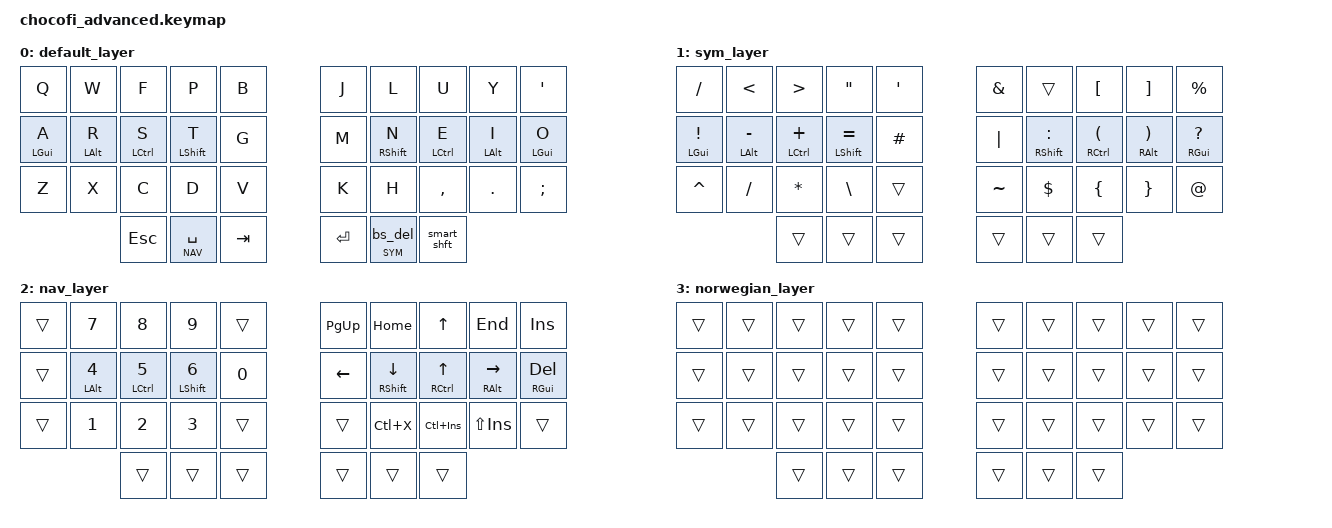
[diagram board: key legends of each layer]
/* source keypos definitions */
#include <behaviors.dtsi>
#include <dt-bindings/zmk/keys.h>
#include <dt-bindings/zmk/bt.h>

#include "../zmk-nodefree-config/helper.h"
#include "../zmk-nodefree-config/keypos_def/keypos_36keys.h"

/* For norwegian letters */
#include "../zmk-nodefree-config/international_chars/danish.dtsi"

/* active bluetooth */
#define CONFIG_WIRELESS 1

/* layer and key shortcuts */

#define DEF 0
#define SYS 1
#define NAV 2

//#include "combos.dtsi"  // requires layer aliases

#define XXX &none
#define ___ &trans

/* Global settings */

#define QUICK_TAP_MS 175

&sk {  // sticky-key config
    release-after-ms = <900>;  // release after 0.6s
    quick-release;             // no double capitalization when rolling keys
};

&sl {  // sticky-layer config
    ignore-modifiers;          // allow chording sticky mods & layers
};

&lt {  // layer-tap config
    flavor = "balanced";
    tapping-term-ms = <200>;
    quick-tap-ms = <QUICK_TAP_MS>;
};

/* Homerow mods */

#define KEYS_L LT0 LT1 LT2 LT3 LT4 LM0 LM1 LM2 LM3 LM4 LB0 LB1 LB2 LB3 LB4  // left hand
#define KEYS_R RT0 RT1 RT2 RT3 RT4 RM0 RM1 RM2 RM3 RM4 RB0 RB1 RB2 RB3 RB4  // right hand
#define THUMBS LH2 LH1 LH0 RH0 RH1 RH2                                      // thumbs

#define MAKE_HRM(NAME, HOLD, TAP, TRIGGER_POS) \
    ZMK_BEHAVIOR(NAME, hold_tap, \
        flavor = "balanced"; \
        tapping-term-ms = <280>; \
        quick-tap-ms = <QUICK_TAP_MS>; \
        require-prior-idle-ms = <150>; \
        bindings = <HOLD>, <TAP>; \
        hold-trigger-key-positions = <TRIGGER_POS>; \
        hold-trigger-on-release; \
    )
MAKE_HRM(hml, &kp, &kp, KEYS_R THUMBS)  // left-hand HRMs
MAKE_HRM(hmr, &kp, &kp, KEYS_L THUMBS)  // right-hand HRMs

MAKE_HRM(hml_repeat, &kp, &key_repeat, KEYS_R THUMBS)  // used for HRM-combo
MAKE_HRM(hmr_lpar_lt, &kp, &lpar_lt, KEYS_L THUMBS)    // "    "   "   "
MAKE_HRM(hmr_rpar_gt, &kp, &rpar_gt, KEYS_L THUMBS)    // "    "   "   "

/* Nav cluster */

// long-tap action on hold, short-tap action on all interrupts
#define MT_CORE \
    flavor = "tap-preferred"; \
    tapping-term-ms = <220>; \
    quick-tap-ms = <220>; \
    hold-trigger-key-positions = <0>;

&mt { MT_CORE };
ZMK_BEHAVIOR(mt_home, hold_tap, bindings = <&masked_home>, <&kp>; MT_CORE)
ZMK_BEHAVIOR(mt_end,  hold_tap,  bindings = <&masked_end>, <&kp>; MT_CORE)

#define NAV_LEFT  &mt_home 0   LEFT    // tap: left  | long-tap: beginning of line
#define NAV_RIGHT &mt_end 0    RIGHT   // tap: right | long-tap: end       of line
#define NAV_UP    &mt LC(HOME) UP      // tap: up    | long-tap: beginning of document
#define NAV_DOWN  &mt LC(END)  DOWN    // tap: down  | long-tap: end       of document
#define NAV_BSPC  &mt LC(BSPC) BSPC    // tap: bspc  | long-t.ap: delete word backward
#define NAV_DEL   &mt LC(DEL)  DEL     // tap: del   | long-tap: delete word forward

// mask CTRL when holding left/right to avoid accidental jumps to beginning/end of document
#define MASK_MODS(NAME, MODS, BINDING) \
    ZMK_BEHAVIOR(NAME, mod_morph, \
        bindings = <BINDING>, <BINDING>; \
        mods = <MODS>; \
    )
MASK_MODS(masked_home, (MOD_LCTL), &kp HOME)
MASK_MODS(masked_end,  (MOD_LCTL), &kp END)

/* Caps-word, num-word and smart-mouse */

// tap: sticky-shift | shift + tap/ double-tap: caps-word | hold: shift
ZMK_BEHAVIOR(smart_shft, mod_morph,
    bindings = <&sk LSHFT>, <&caps_word>;
    mods = <(MOD_LSFT)>;
)
&caps_word {  // mods deactivate caps-word, requires PR #1451
    /delete-property/ ignore-modifiers;
};

// tap: backspace | lshft + tap: delete | rshft + tap: shift-delete
ZMK_BEHAVIOR(bs_del, mod_morph,
    bindings = <&kp BSPC>, <&kp DEL>;
    mods = <(MOD_LSFT|MOD_RSFT)>;
    keep-mods = <MOD_RSFT>;
)

/* keymap */

ZMK_LAYER(default_layer,
     // ╭─────────────┬─────────────┬─────────────┬─────────────┬─────────────╮   ╭─────────────┬─────────────┬─────────────┬─────────────┬─────────────╮
          &kp Q         &kp W         &kp F         &kp P         &kp B             &kp J         &kp L         &kp U         &kp Y         &kp SQT
     // ├─────────────┼─────────────┼─────────────┼─────────────┼─────────────┤   ├─────────────┼─────────────┼─────────────┼─────────────┼─────────────┤
          &hrm LGUI A   &hrm LALT R   &hrm LCTRL S  &hrm LSHFT T  &kp G             &kp M         &hrm RSHFT N  &hrm LCTRL E  &hrm LALT I   &hrm LGUI O
     // ├─────────────┼─────────────┼─────────────┼─────────────┼─────────────┤   ├─────────────┼─────────────┼─────────────┼─────────────┼─────────────┤
          &kp Z         &kp X         &kp C         &kp D         &kp V             &kp K         &kp H         &kp COMMA     &kp DOT       &kp SEMI
     // ╰─────────────┼─────────────┼─────────────┼─────────────┼─────────────┤   ├─────────────┼─────────────┼─────────────┼─────────────┼─────────────┤
                                      &kp ESC       &lt NAV SPACE &kp TAB           &kp RET      &lt SYM bs_del &smart_shft
     //                             ╰─────────────┴─────────────┴─────────────╯   ╰─────────────┴─────────────┴─────────────╯
)

ZMK_LAYER(sym_layer,
     // ╭─────────────┬─────────────┬─────────────┬─────────────┬─────────────╮   ╭─────────────┬─────────────┬─────────────┬─────────────┬─────────────╮
          &kp FSLH      &kp LT        &kp GT        &kp DQT       &kp APOS          &kp AMPS      ___           &kp LBKT      &kp RBKT      &kp PRCNT
     // ├─────────────┼─────────────┼─────────────┼─────────────┼─────────────┤   ├─────────────┼─────────────┼─────────────┼─────────────┼─────────────┤
  &hrm LGUI EXCL &hrm LALT MINUS &hrm LCTRL PLUS &hrm LSHFT EQUAL &kp HASH          &kp PIPE &hrm RSHFT COLON &hrm RCTRL LPAR &hrm RALT RPAR &hrm RGUI QMARK
     // ├─────────────┼─────────────┼─────────────┼─────────────┼─────────────┤   ├─────────────┼─────────────┼─────────────┼─────────────┼─────────────┤
          &kp CARET     &kp FSLH      &kp STAR      &kp BSLH      ___               &kp TILDE     &kp DLLR      &kp LBRC      &kp RBRC      &kp AT
     // ╰─────────────┼─────────────┼─────────────┼─────────────┼─────────────┤   ├─────────────┼─────────────┼─────────────┼─────────────┼─────────────┤
                                      ___           ___           ___               ___           ___           ___
     //                             ╰─────────────┴─────────────┴─────────────╯   ╰─────────────┴─────────────┴─────────────╯
)

ZMK_LAYER(nav_layer,
     // ╭─────────────┬─────────────┬─────────────┬─────────────┬─────────────╮   ╭─────────────┬─────────────┬─────────────┬─────────────┬─────────────╮
          ___           &kp N7        &kp N8        &kp N9        ___               &kp PG_UP     &kp HOME      &kp UP        &kp END       &kp INS
     // ├─────────────┼─────────────┼─────────────┼─────────────┼─────────────┤   ├─────────────┼─────────────┼─────────────┼─────────────┼─────────────┤
          ___           &hrm LALT N4  &hrm LCTRL N5 &hrm LSHFT N6 &kp N0            &kp LEFT  &hrm RSHFT DOWN &hrm RCTRL UP &hrm RALT RIGHT &hrm RGUI DEL
     // ├─────────────┼─────────────┼─────────────┼─────────────┼─────────────┤   ├─────────────┼─────────────┼─────────────┼─────────────┼─────────────┤
          ___           &kp N1        &kp N2        &kp N3        ___               ___           &kp LC(X)     &kp LC(INS)   &kp LS(INS)   ___
     // ╰─────────────┼─────────────┼─────────────┼─────────────┼─────────────┤   ├─────────────┼─────────────┼─────────────┼─────────────┼─────────────┤
                                      ___           ___           ___               ___           ___           ___
     //                             ╰─────────────┴─────────────┴─────────────╯   ╰─────────────┴─────────────┴─────────────╯
)

ZMK_LAYER(norwegian_layer,
     // ╭─────────────┬─────────────┬─────────────┬─────────────┬─────────────╮   ╭─────────────┬─────────────┬─────────────┬─────────────┬─────────────╮
          ___           ___           ___           ___           ___               ___           ___           ___           ___           ___
     // ├─────────────┼─────────────┼─────────────┼─────────────┼─────────────┤   ├─────────────┼─────────────┼─────────────┼─────────────┼─────────────┤
          ___           ___           ___           ___           ___               ___           ___           ___           ___           ___
     // ├─────────────┼─────────────┼─────────────┼─────────────┼─────────────┤   ├─────────────┼─────────────┼─────────────┼─────────────┼─────────────┤
          ___           ___           ___           ___           ___               ___           ___           ___           ___           ___
     // ╰─────────────┼─────────────┼─────────────┼─────────────┼─────────────┤   ├─────────────┼─────────────┼─────────────┼─────────────┼─────────────┤
                                      ___           ___           ___               ___           ___           ___
     //                             ╰─────────────┴─────────────┴─────────────╯   ╰─────────────┴─────────────┴─────────────╯
)
